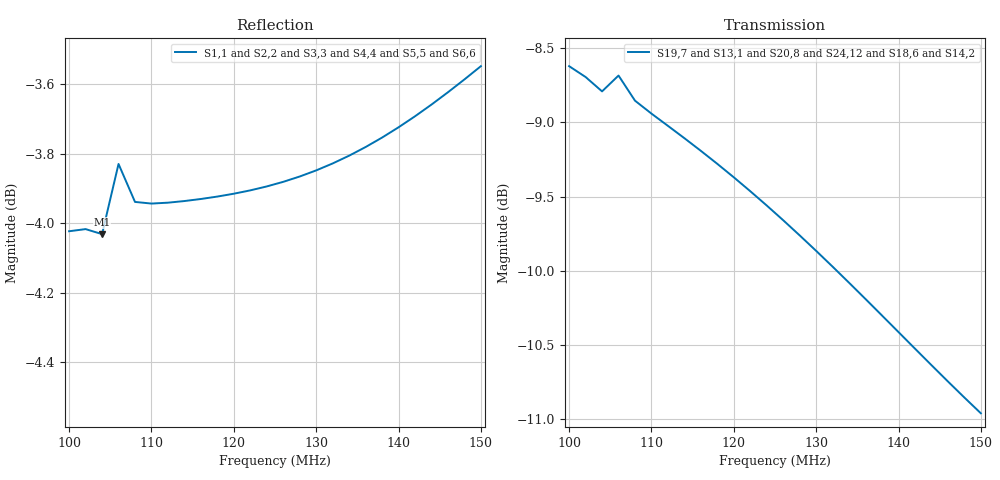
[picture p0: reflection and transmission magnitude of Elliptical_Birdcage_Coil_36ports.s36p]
! Touchstone file exported from HFSS 2022.1.0
!  File:  E:/Users/dezanche/Documents/Ansoft/Elliptical_Birdcage_Coil_36ports.aedt
!  Generated:  5:24:38 PM  Jan 17, 2024
!  Design:  HFSSDesign1
!  Project:  Elliptical_Birdcage_Coil_36ports
!  Setup:  Setup4
!  Solution:  Sweep
! Variables:
!  D1 = 332.78mm
!  D2 = 517.78mm
!  SH1 = 582.26mm
!  SH2 = 397.26mm
!  SH_height = 460mm
!  Zin = 0.1ohm
!  Zport = 2ohm
!  a = 258.89mm
!  alpha1 = 0.04884rad
!  alpha2 = 0.05925rad
!  alpha3 = 0.07394rad
!  b = 166.39mm
!  bore_height = 1000mm
!  bore_radius = 300mm
!  cap1 = 23.9pF
!  cap2 = 21.6pF
!  cap3 = 18pF
!  cap4 = 17.1pF
!  cap_leg1 = 40pF
!  cap_leg2 = 40pF
!  cap_leg3 = 40pF
!  cap_size = 2mm
!  coil_height = 400mm
!  er_width = 0.5in
!  leg_thickness = 0.3mm
!  num_legs = 12
!  separation_angle = 0.523598775598299
! Terminal data exported
! Port[1] = 1
! Port[2] = 2
! Port[3] = 3
! Port[4] = 4
! Port[5] = 5
! Port[6] = 6
! Port[7] = 7
! Port[8] = 8
! Port[9] = 9
! Port[10] = 10
! Port[11] = 11
! Port[12] = 12
! Port[13] = 13
! Port[14] = 14
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# GHz S MA R 50.000000
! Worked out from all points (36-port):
!   26 points, 100 MHz to 150 MHz, reference 50 ohm
!   strongest paths, dB at 100 MHz, 112 MHz, 126 MHz, 138 MHz, 150 MHz:
!     S19,7: -8.6, -9.0, -9.7, -10.3, -11.0
!     S13,1: -8.6, -9.0, -9.7, -10.3, -11.0
!     S20,8: -8.7, -9.2, -9.8, -10.5, -11.3
!     S24,12: -8.7, -9.2, -9.8, -10.5, -11.3
!     S18,6: -8.7, -9.2, -9.8, -10.5, -11.3
!     S14,2: -8.7, -9.2, -9.8, -10.5, -11.3
!   lowest |S11| = -4.0 dB at 104 MHz (marker M1), VSWR 4.39, Z = 185 + j77.3 ohm
!   |S11| at or under -10 dB: nowhere
